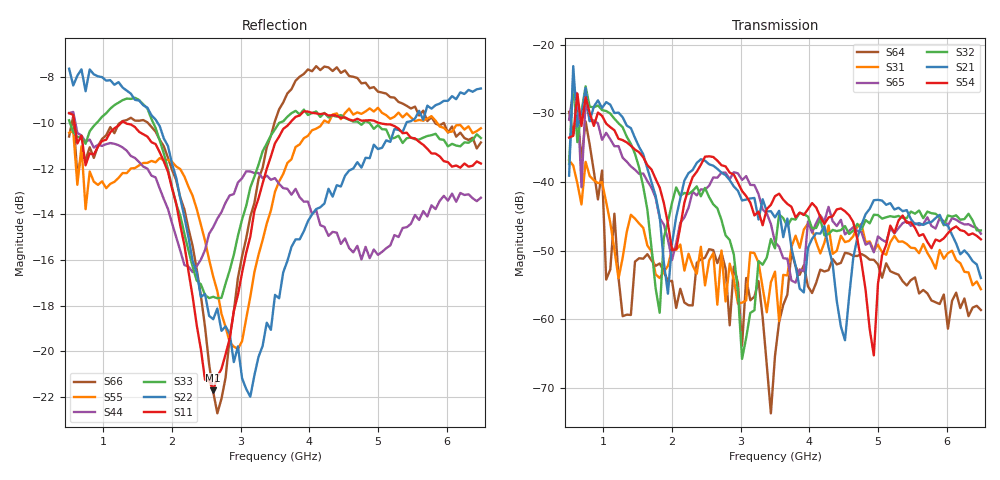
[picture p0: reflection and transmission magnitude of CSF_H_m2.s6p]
!Keysight Technologies,M9804A,MY58100912,A.14.10.03
!Date: Thursday, April 27, 2023 10:28:33
!Correction: S11(C  6-Port  )
!S12(C  6-Port  )
!S13(C  6-Port  )
!S14(C  6-Port  )
!S15(C  6-Port  )
!S16(C  6-Port  )
!S21(C  6-Port  )
!S22(C  6-Port  )
!S23(C  6-Port  )
!S24(C  6-Port  )
!S25(C  6-Port  )
!S26(C  6-Port  )
!S31(C  6-Port  )
!S32(C  6-Port  )
!S33(C  6-Port  )
!S34(C  6-Port  )
!S35(C  6-Port  )
!S36(C  6-Port  )
!S41(C  6-Port  )
!S42(C  6-Port  )
!S43(C  6-Port  )
!S44(C  6-Port  )
!S45(C  6-Port  )
!S46(C  6-Port  )
!S51(C  6-Port  )
!S52(C  6-Port  )
!S53(C  6-Port  )
!S54(C  6-Port  )
!S55(C  6-Port  )
!S56(C  6-Port  )
!S61(C  6-Port  )
!S62(C  6-Port  )
!S63(C  6-Port  )
!S64(C  6-Port  )
!S65(C  6-Port  )
!S66(C  6-Port  )
!S6P File: Measurement: :
# Hz S  RI  R 50
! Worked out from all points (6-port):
!   101 points, 500 MHz to 6.5 GHz, reference 50 ohm
!   strongest paths, dB at 500 MHz, 2 GHz, 3.5 GHz, 5 GHz, 6.5 GHz:
!     S54: -33.5, -49.9, -42.1, -54.9, -48.4
!     S21: -39.1, -48.9, -45.2, -42.6, -54.0
!     S32: -37.4, -43.0, -49.7, -44.8, -47.1
!     S65: -30.9, -51.4, -48.7, -47.9, -47.5
!     S31: -36.8, -49.7, -53.1, -49.1, -55.6
!     S64: -29.8, -54.4, -65.3, -52.0, -58.6
!   lowest |S11| = -21.7 dB at 2.6 GHz (marker M1), VSWR 1.18, Z = 42.7 + j2.03 ohm
!   |S11| at or under -10 dB: 576.9 MHz to 1.258 GHz (680.6 MHz wide, 74.2 % of centre); 1.32 GHz to 3.717 GHz (2.396 GHz wide, 95.2 % of centre); 5.019 GHz to end of sweep
